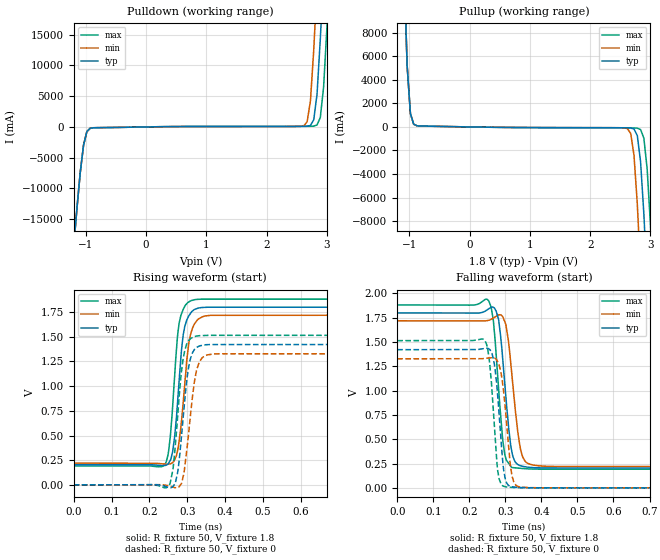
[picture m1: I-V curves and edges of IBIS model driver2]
| IBIS file inv_chain_tr1ps.ibs created by PYS2IBIS3
| Missouri S&T EMC Lab
[IBIS Ver] 7.1
[File Name] inv_chain_tr1ps.ibs
[File Rev] 1.0
[Date] Jul 27, 2026
[Source] Eight-stage inv_chain transistor model characterized with s2ibispy
[Notes] Parameter selection; sim_time=9.970e-10, tr=tf=1.000e-12.
[Component] invchain
[Manufacturer] s2ibispy study
[Package]
| variable   typ   min   max
R_pkg 0 NA NA
L_pkg 0H NA NA
C_pkg 0F NA NA
[Pin]  signal_name   model_name   R_pin   L_pin   C_pin
VSSQ   VSSQ   Gnd
VCCQ   VCCQ   Power
| IN IN dummy
PAD   PAD   driver2
| End of Component
| Models and submodels in the file (1): driver2 (Output)
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[Model] driver2
Model_type Output
Polarity Non-Inverting
Enable Active-High
Vinl  = 0.8V
Vinh  = 2V
C_comp 0.4680pF NA NA
[Temperature Range] 27.0000 27.0000 27.0000
[Voltage Range] 1.8000V 1.7000V 1.9000V
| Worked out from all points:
|   slope of the pulldown table from 0 to 0.27 V, typ, clamps not added: 6.79 ohm
|   slope of the pullup table from 0 to 0.27 V, typ, clamps not added: 12.6 ohm
|   rising waveform, R_fixture 50, V_fixture 1.8: 20-80 % time 20.4ps typ, 22ps min, 19.1ps max; typ from 0.204 V to 1.8 V
|   rising waveform, R_fixture 50, V_fixture 0: 20-80 % time 21.9ps typ, 23.2ps min, 20.3ps max; typ from 0 V to 1.42 V
|   falling waveform, R_fixture 50, V_fixture 1.8: 20-80 % time 23.1ps typ, 25.3ps min, 20.8ps max; typ from 1.8 V to 0.204 V
|   falling waveform, R_fixture 50, V_fixture 0: 20-80 % time 18.4ps typ, 20.1ps min, 17.3ps max; typ from 1.42 V to 0 V
[Pulldown]
| Voltage   I(typ)   I(min)   I(max)
-1.8V     -87.88A    -87.88A    -87.88A
-1.2V     -19.4A     -19.4A     -19.4A
-1.036V   -2.952A    -2.948A    -2.955A
-927.3mV  -221.8mA   -216.4mA   -227mA
2.618V    95.77mA    193.1mA    97.15mA
2.727V    244.8mA    4.224A     106.4mA
2.782V    1.151A     12.49A     132.5mA
2.836V    5.27A      23.04A     313.7mA
2.891V    14.25A     33.59A     1.533A
2.946V    24.81A     44.15A     6.464A
3V        35.36A     54.71A     16.02A
3.6V      151.5A     170.8A     132.1A
[Pullup]
| Voltage   I(typ)   I(min)   I(max)
-1.8V     151.4A     151.4A     151.4A
-1.091V   14.2A      14.19A     14.2A
-981.8mV  1.13A      1.129A     1.132A
-872.7mV  99.18mA    97.54mA    100.6mA
2.618V    -78.19mA   -142.5mA   -79.21mA
2.727V    -177.2mA   -2.408A    -86.52mA
2.782V    -728.3mA   -6.523A    -104.6mA
2.836V    -2.952A    -12.18A    -222.3mA
2.891V    -7.391A    -18.4A     -950.7mA
2.946V    -13.22A    -24.62A    -3.561A
3V        -19.44A    -30.85A    -8.297A
3.6V      -87.92A    -99.33A    -76.52A
[Ramp]
| variable   typ   min   max
dV/dt_r 0.8532/0.02188n 0.7968/0.02331n 0.9090/0.02037n
dV/dt_f 0.9575/0.02295n 0.8972/0.02485n 1.0171/0.02129n
R_load = 50
[Rising Waveform]
R_fixture = 50
V_fixture = 1.8
|time   V(typ)   V(min)   V(max)
0s        204.2mV    219.5mV    192.2mV
240.5ps   196mV      210.6mV    204.2mV
250.5ps   219.2mV    210.8mV    338.5mV
260.5ps   318.9mV    223mV      746.9mV
276.4ps   943.4mV    385.4mV    1.583V
289.4ps   1.526V     844.6mV    1.78V
298.4ps   1.668V     1.255V     1.836V
308.4ps   1.738V     1.521V     1.865V
354.3ps   1.8V       1.716V     1.882V
997ps     1.8V       1.719V     1.882V
[Rising Waveform]
R_fixture = 50
V_fixture = 0
|time   V(typ)   V(min)   V(max)
0s        13.08nV    12.76nV    13.48nV
249.5ps   -27.23mV   -8.161mV   -17.56mV
262.5ps   -13.78mV   -23.94mV   165.3mV
275.4ps   144.2mV    -27.33mV   738.6mV
285.4ps   517.6mV    22.91mV    1.173V
300.4ps   1.113V     407.7mV    1.44V
316.4ps   1.355V     974.1mV    1.499V
332.3ps   1.407V     1.249V     1.512V
361.3ps   1.422V     1.323V     1.515V
997ps     1.422V     1.328V     1.515V
[Falling Waveform]
R_fixture = 50
V_fixture = 1.8
|time   V(typ)   V(min)   V(max)
0s        1.8V       1.719V     1.882V
253.5ps   1.842V     1.724V     1.925V
266.5ps   1.858V     1.746V     1.727V
281.4ps   1.73V      1.78V      1.015V
297.4ps   1.113V     1.719V     362.8mV
307.4ps   684.3mV    1.543V     261.2mV
317.4ps   383.3mV    1.192V     210.4mV
341.3ps   228.6mV    410.8mV    200.3mV
368.3ps   210.4mV    242.6mV    194mV
997ps     204.2mV    219.5mV    192.2mV
[Falling Waveform]
R_fixture = 50
V_fixture = 0
|time   V(typ)   V(min)   V(max)
0s        1.422V     1.328V     1.515V
243.5ps   1.435V     1.332V     1.515V
255.5ps   1.427V     1.337V     1.312V
269.5ps   1.272V     1.337V     627.3mV
279.4ps   912.2mV    1.293V     160.7mV
288.4ps   462mV      1.173V     35.63mV
297.4ps   135.8mV    906.7mV    13.34mV
317.4ps   11.48mV    141.9mV    4.777mV
334.3ps   4.746mV    14.44mV    2.011mV
997ps     13.06nV    12.3nV     13.61nV
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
